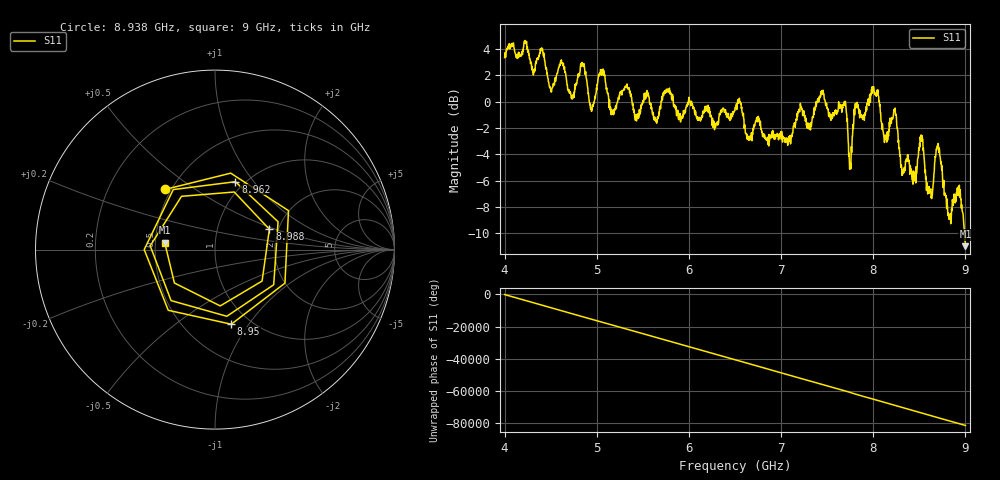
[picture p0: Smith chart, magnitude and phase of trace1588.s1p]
! Created with skrf 1.8.0 (http://scikit-rf.org).
# Hz S RI R 50.0
!freq ReS11 ImS11
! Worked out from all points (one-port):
!   1601 points, 4 GHz to 9 GHz, reference 50 ohm
!   lowest |S11| = -11.0 dB at 9 GHz (marker M1), VSWR 1.79, Z = 28 + j2.37 ohm
!   |S11| at or under -10 dB: 8.990705 GHz to end of sweep
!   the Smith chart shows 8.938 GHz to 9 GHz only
!   S11 on the Smith chart (normalised r, x): 8.938 GHz: 0.47, +0.39; 8.95 GHz: 0.82, -0.83; 8.962 GHz: 0.91, +0.81; 8.988 GHz: 1.80, +0.46; 9 GHz: 0.56, +0.05
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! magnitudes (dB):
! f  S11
! 4 GHz  3.4
! 4.406 GHz  4.0
! 4.509 GHz  0.8
! 4.625 GHz  2.9
! 4.728 GHz  0.4
! 4.844 GHz  2.8
! 4.944 GHz  -0.7
! 5.05 GHz  2.0
! 5.166 GHz  -0.8
! 5.25 GHz  0.5
! 5.875 GHz  -1.0
! 6.5 GHz  -0.6
! 7.125 GHz  -2.4
! 7.441 GHz  0.8
! 7.688 GHz  0.0
! 7.75 GHz  -5.1
! 7.812 GHz  -0.2
! 8.006 GHz  1.1
! 8.375 GHz  -4.2
! 8.525 GHz  -3.0
! 8.622 GHz  -6.7
! 8.703 GHz  -3.2
! 8.822 GHz  -8.9
! 8.938 GHz  -7.2
! 8.95 GHz  -7.4
! 8.962 GHz  -8.1
! 8.988 GHz  -9.8
! 9 GHz  -11.0
